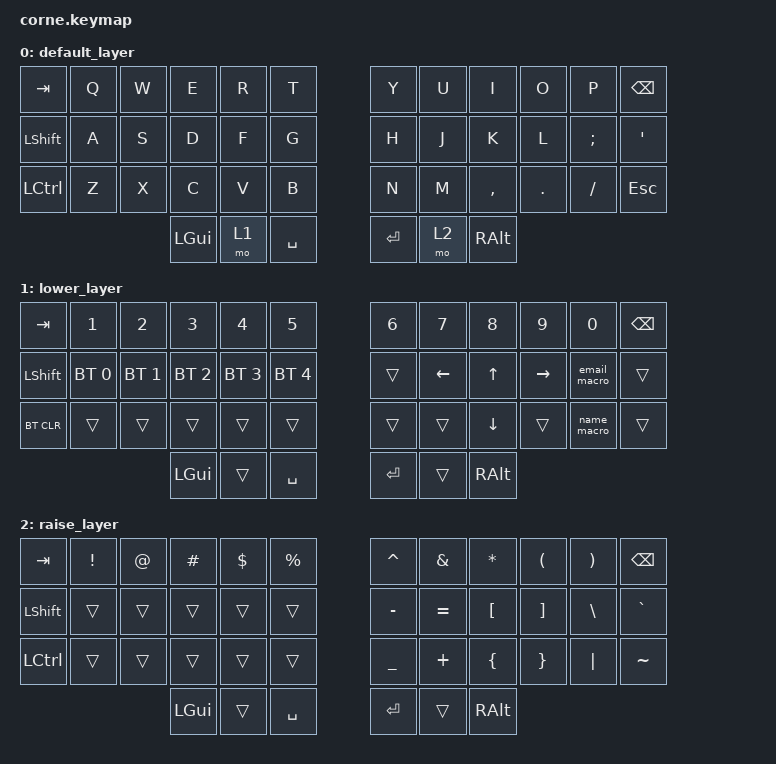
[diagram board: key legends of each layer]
/*
 * Copyright (c) 2020 The ZMK Contributors
 *
 * SPDX-License-Identifier: MIT
 */

#include <behaviors.dtsi>
#include <dt-bindings/zmk/keys.h>
#include <dt-bindings/zmk/bt.h>


/ {
        macros {
                email_macro: email_macro {
                        compatible = "zmk,behavior-macro";
                        #binding-cells = <0>;
                        bindings = <
                        &kp J &kp J
                        &kp M &kp I &kp R &kp A &kp N &kp D &kp A &kp A
                        &kp N8 &kp N6
                        &kp AT
                        &kp G &kp M &kp A &kp I &kp L
                        &kp DOT
                        &kp C &kp O &kp M
                        >;
                };

                name_macro: name_macro {
                        compatible = "zmk,behavior-macro";
                        #binding-cells = <0>;
                        bindings = <
                                &macro_press &kp LSHFT
                                &kp J
                                &macro_release &kp LSHFT

                                &kp E &kp F &kp F &kp E &kp R &kp S &kp O &kp N
                                &kp SPACE

                                &macro_press &kp LSHFT
                                &kp M
                                &macro_release &kp LSHFT

                                &kp I &kp R &kp A &kp N &kp D &kp A
                                &kp SPACE

                                &macro_press &kp LSHFT
                                &kp A
                                &macro_release &kp LSHFT

                                &kp DOT
                        >;
                };
        };

        keymap {
                compatible = "zmk,keymap";

                default_layer {
// -----------------------------------------------------------------------------------------
// |  TAB |  Q  |  W  |  E  |  R  |  T  |   |  Y  |  U   |  I  |  O  |  P  | BSPC |
// | SHFT |  A  |  S  |  D  |  F  |  G  |   |  H  |  J   |  K  |  L  |  ;  |  '   |
// | CTRL |  Z  |  X  |  C  |  V  |  B  |   |  N  |  M   |  ,  |  .  |  /  | ESC  |
//                    | GUI | LWR | SPC |   | ENT | RSE  | ALT |
                        bindings = <
   &kp TAB   &kp Q &kp W &kp E &kp R &kp T   &kp Y &kp U  &kp I     &kp O   &kp P    &kp BSPC
   &kp LSHFT &kp A &kp S &kp D &kp F &kp G   &kp H &kp J  &kp K     &kp L   &kp SEMI &kp SQT
   &kp LCTRL &kp Z &kp X &kp C &kp V &kp B   &kp N &kp M  &kp COMMA &kp DOT &kp FSLH &kp ESC
                  &kp LGUI &mo 1 &kp SPACE   &kp RET &mo 2 &kp RALT
                        >;
                };
                lower_layer {
// -----------------------------------------------------------------------------------------
// |  TAB |  1  |  2  |  3  |  4  |  5  |   |  6  |  7  |  8  |  9  |  0             | BSPC |
// | SHFT | BT1 | BT2 | BT3 | BT4 | BT5 |   |     | LFT |  UP | RGT | email_macro    |      |
// | BTCLR|     |     |     |     |     |   |     |     | DWN |     | name_macro     |      |
//                    | GUI |     | SPC |   | ENT |     | ALT |
                        bindings = <
   &kp TAB    &kp N1       &kp N2       &kp N3       &kp N4       &kp N5         &kp N6   &kp N7   &kp N8   &kp N9    &kp N0       &kp BSPC
   &kp LSHFT  &bt BT_SEL 0 &bt BT_SEL 1 &bt BT_SEL 2 &bt BT_SEL 3 &bt BT_SEL 4   &trans   &kp LEFT &kp UP   &kp RIGHT &email_macro &trans
   &bt BT_CLR &trans       &trans       &trans       &trans       &trans         &trans   &trans   &kp DOWN &trans    &name_macro  &trans
                                    &kp LGUI     &trans       &kp SPACE      &kp RET  &trans   &kp RALT
                        >;
                };

                raise_layer {
// -----------------------------------------------------------------------------------------
// |  TAB |  !  |  @  |  #  |  $  |  %  |   |  ^  |  &  |  *  |  (  |  )  | BSPC |
// | SHFT |     |     |     |     |     |   |  -  |  =  |  [  |  ]  |  \  |  `   |
// | CTRL |     |     |     |     |     |   |  _  |  +  |  {  |  }  | "|" |  ~   |
//                    | GUI |     | SPC |   | ENT |     | ALT |
                        bindings = <
   &kp  TAB  &kp EXCL &kp AT &kp HASH &kp DLLR &kp PRCNT   &kp CARET &kp AMPS  &kp ASTRK &kp LPAR &kp RPAR &kp BSPC
   &kp LSHFT &trans   &trans &trans   &trans   &trans      &kp MINUS &kp EQUAL &kp LBKT  &kp RBKT &kp BSLH &kp GRAVE
   &kp LCTRL &trans   &trans &trans   &trans   &trans      &kp UNDER &kp PLUS  &kp LBRC  &kp RBRC &kp PIPE &kp TILDE
                             &kp LGUI &trans   &kp SPACE   &kp RET   &trans    &kp RALT
                        >;
                };
        };
};
